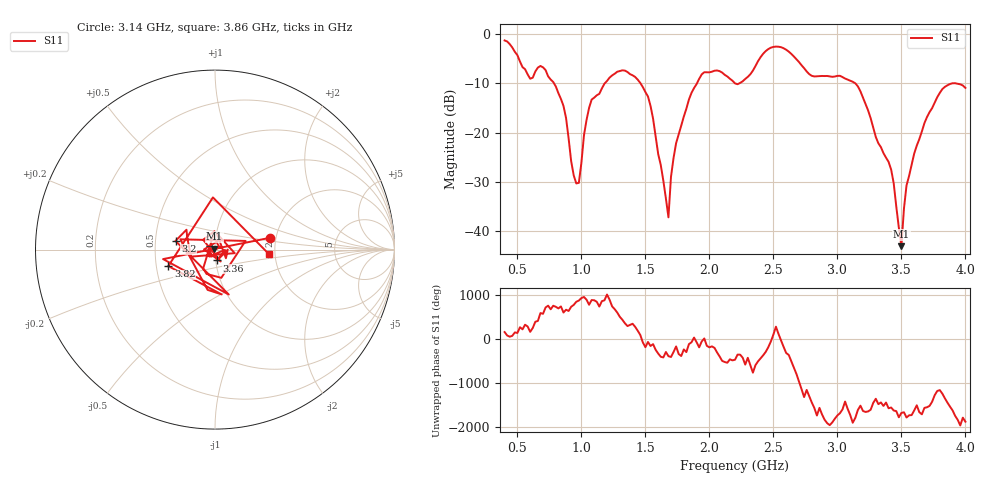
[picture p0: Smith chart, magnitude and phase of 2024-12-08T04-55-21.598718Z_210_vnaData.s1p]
!Created with skrf (http://scikit-rf.org).
# Hz S RI R 50.0
!freq ReS11 ImS11
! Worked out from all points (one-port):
!   181 points, 400 MHz to 4 GHz, reference 50 ohm
!   lowest |S11| = -43.1 dB at 3.5 GHz (marker M1), VSWR 1.01, Z = 49.6 + j0.576 ohm
!   |S11| at or under -10 dB: 785.5 MHz to 1.183 GHz (397.6 MHz wide, 40.4 % of centre); 1.461 GHz to 1.903 GHz (441.5 MHz wide, 26.2 % of centre); 3.139 GHz to 3.9 GHz (760.6 MHz wide, 21.6 % of centre) (the widest 3 of 5)
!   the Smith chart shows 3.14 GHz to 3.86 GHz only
!   S11 on the Smith chart (normalised r, x): 3.14 GHz: 1.87, +0.27; 3.2 GHz: 0.64, +0.07; 3.36 GHz: 1.02, -0.12; 3.82 GHz: 0.58, -0.12; 3.86 GHz: 1.86, -0.10
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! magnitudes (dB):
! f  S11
! 400 MHz  -1.3
! 600 MHz  -9.1
! 720 MHz  -7.3
! 860 MHz  -14.6
! 940 MHz  -28.7
! 980 MHz  -30.2
! 1.02 GHz  -20.6
! 1.08 GHz  -13.3
! 1.3 GHz  -7.5
! 1.52 GHz  -12.7
! 1.68 GHz  -37.2
! 1.7 GHz  -29.0
! 1.76 GHz  -20.4
! 1.94 GHz  -8.2
! 2.2 GHz  -10.0
! 2.48 GHz  -2.8
! 2.66 GHz  -4.6
! 3.1 GHz  -9.5
! 3.14 GHz  -10.0
! 3.2 GHz  -12.9
! 3.36 GHz  -24.2
! 3.42 GHz  -27.5
! 3.5 GHz  -43.1
! 3.52 GHz  -35.5
! 3.56 GHz  -28.8
! 3.82 GHz  -11.2
! 3.86 GHz  -10.4
! 4 GHz  -10.9
